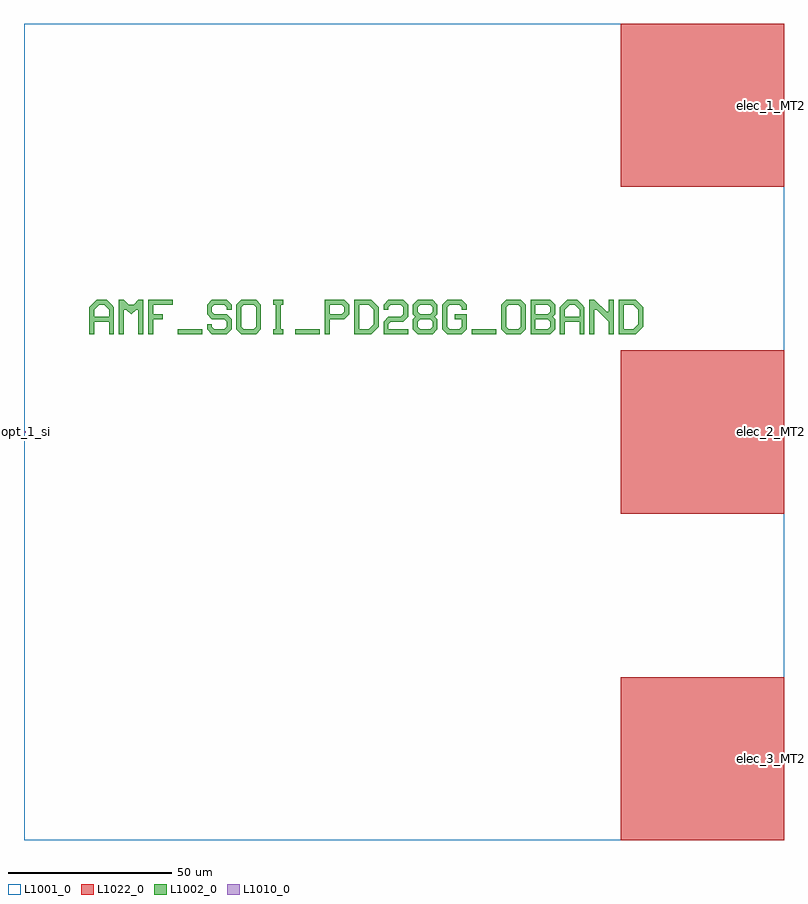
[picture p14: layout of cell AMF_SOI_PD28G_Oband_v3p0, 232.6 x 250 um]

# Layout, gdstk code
import gdstk
lib = gdstk.Library(unit=1e-6, precision=1e-09)
def R(c, l, rs):  # rectangles x0, y0, x1, y1
    for r in rs: c.add(gdstk.rectangle(r[:2], r[2:], *l))
def A(c, l, x, y, w, h, nx, ny, dx, dy):  # array of equal rectangles
    R(c, l, [(x+i*dx, y+j*dy, x+i*dx+w, y+j*dy+h) for i in range(nx) for j in range(ny)])
def P(c, l, *ps):  # polygons
    for p in ps: c.add(gdstk.Polygon(p, *l))
L1001_0 = (1001, 0)
L1002_0 = (1002, 0)
L1010_0 = (1010, 0)
L1022_0 = (1022, 0)

amf_soi_pd28g_oband_v3p0 = lib.new_cell('AMF_SOI_PD28G_Oband_v3p0')
R(amf_soi_pd28g_oband_v3p0, L1001_0, [(0,-125,232.6,125)])
R(amf_soi_pd28g_oband_v3p0, L1002_0, [(47.033,29.981,54.533,31.481), (83.033,29.981,90.533,31.481), (137.033,29.981,144.533,31.481)])
P(amf_soi_pd28g_oband_v3p0, L1002_0, [(20.033,29.981),(20.033,38.231),(22.283,40.481),(25.283,40.481),(26.783,38.981),(23.033,38.981),(21.533,37.481),(21.533,35.231),(26.033,35.231),(26.033,37.481),(24.533,38.981),(26.783,38.981),(27.533,38.231),(27.533,29.981),(26.033,29.981),(26.033,33.731),(21.533,33.731),(21.533,29.981)],
  [(29.033,29.981),(29.033,40.481),(30.533,40.481),(32.033,38.981),(33.533,38.981),(35.033,40.481),(36.533,40.481),(36.533,29.981),(35.033,29.981),(35.033,37.481),(34.283,37.481),(32.783,35.981),(31.283,37.481),(30.533,37.481),(30.533,29.981)],
  [(38.033,29.981),(38.033,40.481),(45.533,40.481),(45.533,38.981),(39.533,38.981),(39.533,35.981),(42.533,35.981),(42.533,34.481),(39.533,34.481),(39.533,29.981)],
  [(57.533,29.981),(56.033,31.481),(56.033,32.981),(57.533,32.981),(57.533,32.231),(58.283,31.481),(61.283,31.481),(62.033,32.231),(62.033,33.731),(61.283,34.481),(57.533,34.481),(56.033,35.981),(56.033,38.981),(57.533,40.481),(62.033,40.481),(63.533,38.981),(63.533,37.481),(62.033,37.481),(62.033,38.231),(61.283,38.981),(58.283,38.981),(57.533,38.231),(57.533,36.731),(58.283,35.981),(62.033,35.981),(63.533,34.481),(63.533,31.481),(62.033,29.981)],
  [(66.533,29.981),(65.033,31.481),(65.033,38.981),(66.533,40.481),(71.033,40.481),(72.533,38.981),(72.533,35.231),(71.033,35.231),(71.033,38.231),(70.283,38.981),(67.283,38.981),(66.533,38.231),(66.533,32.231),(67.283,31.481),(70.283,31.481),(71.033,32.231),(71.033,35.231),(72.533,35.231),(72.533,31.481),(71.033,29.981)],
  [(76.283,29.981),(76.283,31.481),(77.033,31.481),(77.033,38.981),(76.283,38.981),(76.283,40.481),(79.283,40.481),(79.283,38.981),(78.533,38.981),(78.533,31.481),(79.283,31.481),(79.283,29.981)],
  [(92.033,29.981),(92.033,40.481),(98.033,40.481),(99.533,38.981),(99.533,35.981),(98.033,34.481),(93.533,34.481),(93.533,35.981),(97.283,35.981),(98.033,36.731),(98.033,38.231),(97.283,38.981),(93.533,38.981),(93.533,29.981)],
  [(101.033,29.981),(101.033,40.481),(106.283,40.481),(107.783,38.981),(102.533,38.981),(102.533,31.481),(105.533,31.481),(107.033,32.981),(107.033,37.481),(105.533,38.981),(107.783,38.981),(108.533,38.231),(108.533,32.231),(106.283,29.981)],
  [(110.033,29.981),(110.033,33.731),(111.533,35.231),(115.283,35.231),(116.033,35.981),(116.033,38.231),(115.283,38.981),(112.283,38.981),(111.533,38.231),(111.533,37.481),(110.033,37.481),(110.033,38.981),(111.533,40.481),(116.033,40.481),(117.533,38.981),(117.533,35.231),(116.033,33.731),(112.283,33.731),(111.533,32.981),(111.533,31.481),(117.533,31.481),(117.533,29.981)],
  [(120.533,29.981),(119.033,31.481),(119.033,34.481),(119.783,35.231),(119.033,35.981),(119.033,38.981),(120.533,40.481),(125.033,40.481),(126.533,38.981),(121.283,38.981),(120.533,38.231),(120.533,36.731),(121.283,35.981),(124.283,35.981),(125.033,36.731),(125.033,38.231),(124.283,38.981),(126.533,38.981),(126.533,35.981),(125.783,35.231),(126.533,34.481),(121.283,34.481),(120.533,33.731),(120.533,32.231),(121.283,31.481),(124.283,31.481),(125.033,32.231),(125.033,33.731),(124.283,34.481),(126.533,34.481),(126.533,31.481),(125.033,29.981)],
  [(129.533,29.981),(128.033,31.481),(128.033,38.981),(129.533,40.481),(134.033,40.481),(135.533,38.981),(135.533,37.481),(134.033,37.481),(134.033,38.231),(133.283,38.981),(130.283,38.981),(129.533,38.231),(129.533,32.231),(130.283,31.481),(133.283,31.481),(134.033,32.231),(134.033,34.481),(131.783,34.481),(131.783,35.981),(135.533,35.981),(135.533,31.481),(134.033,29.981)],
  [(147.533,29.981),(146.033,31.481),(146.033,38.981),(147.533,40.481),(152.033,40.481),(153.533,38.981),(153.533,35.231),(152.033,35.231),(152.033,38.231),(151.283,38.981),(148.283,38.981),(147.533,38.231),(147.533,32.231),(148.283,31.481),(151.283,31.481),(152.033,32.231),(152.033,35.231),(153.533,35.231),(153.533,31.481),(152.033,29.981)],
  [(155.033,29.981),(155.033,40.481),(161.033,40.481),(162.533,38.981),(156.533,38.981),(156.533,35.981),(160.283,35.981),(161.033,36.731),(161.033,38.231),(160.283,38.981),(162.533,38.981),(162.533,35.981),(161.783,35.231),(162.533,34.481),(156.533,34.481),(156.533,31.481),(160.283,31.481),(161.033,32.231),(161.033,33.731),(160.283,34.481),(162.533,34.481),(162.533,31.481),(161.033,29.981)],
  [(164.033,29.981),(164.033,38.231),(166.283,40.481),(169.283,40.481),(170.783,38.981),(167.033,38.981),(165.533,37.481),(165.533,35.231),(170.033,35.231),(170.033,37.481),(168.533,38.981),(170.783,38.981),(171.533,38.231),(171.533,29.981),(170.033,29.981),(170.033,33.731),(165.533,33.731),(165.533,29.981)],
  [(173.033,29.981),(173.033,40.481),(174.533,40.481),(178.283,36.731),(179.033,36.731),(179.033,40.481),(180.533,40.481),(180.533,29.981),(179.033,29.981),(179.033,33.731),(175.283,37.481),(174.533,37.481),(174.533,29.981)],
  [(182.033,29.981),(182.033,40.481),(187.283,40.481),(188.783,38.981),(183.533,38.981),(183.533,31.481),(186.533,31.481),(188.033,32.981),(188.033,37.481),(186.533,38.981),(188.783,38.981),(189.533,38.231),(189.533,32.231),(187.283,29.981)])
R(amf_soi_pd28g_oband_v3p0, L1010_0, [(0,-0.205,0.5,0.205)])
A(amf_soi_pd28g_oband_v3p0, L1022_0, 182.6, -125, 50, 50, 1, 3, 0, 100)
amf_soi_pd28g_oband_v3p0.add(gdstk.Label('opt_1_si', (0,0), layer=1010, texttype=0))
amf_soi_pd28g_oband_v3p0.add(gdstk.Label('elec_1_MT2', (232.6,100), layer=1022, texttype=0))
amf_soi_pd28g_oband_v3p0.add(gdstk.Label('elec_2_MT2', (232.6,0), layer=1022, texttype=0))
amf_soi_pd28g_oband_v3p0.add(gdstk.Label('elec_3_MT2', (232.6,-100), layer=1022, texttype=0))

lib.write_gds('AMF_SOI_PD28G_Oband_v3p0.gds')
